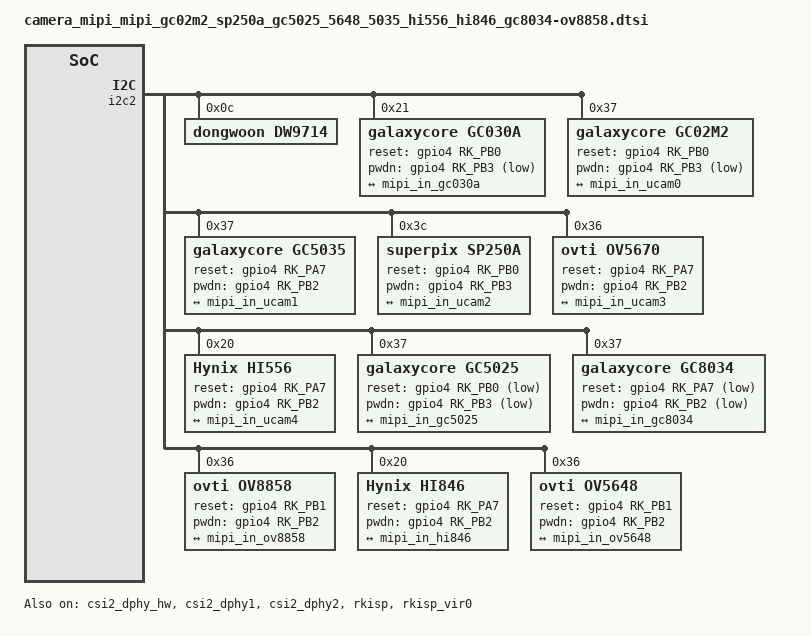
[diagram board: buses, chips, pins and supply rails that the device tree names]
&csi2_dphy_hw {
	status = "okay";
};

/*
 * csi2_dphy1 & csi2_dphy2 used for split mode,
 * csi2_dphy0 used for full mode,
 * full mode and split mode are mutually exclusive
 */

&csi2_dphy0 {
	status = "disabled";

	ports {
		#address-cells = <1>;
		#size-cells = <0>;
		port@0 {
			reg = <0>;
			#address-cells = <1>;
			#size-cells = <0>;

			mipi_in_ucam5: endpoint@2 {
				reg = <2>;
				remote-endpoint = <&ov8858_out>;
				data-lanes = <1 2 3 4>;
			};
		};
		port@1 {
			reg = <1>;
			#address-cells = <1>;
			#size-cells = <0>;

			dphy0_out: endpoint@0 {
				reg = <0>;
				remote-endpoint = <&isp_in0>;
			};
		};
	};
};

&csi2_dphy1 {
	status = "okay";

	/*
	 * dphy1 only used for split mode,
	 * can be used  concurrently  with dphy2
	 * full mode and split mode are mutually exclusive
	 */
	ports {
		#address-cells = <1>;
		#size-cells = <0>;

		port@0 {
			reg = <0>;
			#address-cells = <1>;
			#size-cells = <0>;

			mipi_in_ucam1: endpoint@1 {
				reg = <1>;
				remote-endpoint = <&gc5035_out>;
				data-lanes = <1 2>;
			};
			mipi_in_ucam3: endpoint@2 {
				reg = <2>;
				remote-endpoint = <&ov5670_out>;
				data-lanes = <1 2>;
			};
			mipi_in_ucam4: endpoint@4 {
				reg = <4>;
				remote-endpoint = <&hi556_out>;
				data-lanes = <1 2>;
			};
			mipi_in_gc8034: endpoint@5 {
				reg = <5>;
				remote-endpoint = <&gc8034_out>;
				data-lanes = <1 2>;
			};
			mipi_in_hi846: endpoint@6 {
				reg = <6>;
				remote-endpoint = <&hi846_out>;
				data-lanes = <1 2>;
			};
			mipi_in_ov5648: endpoint@7 {
				reg = <7>;
				remote-endpoint = <&ov5648_out>;
				data-lanes = <1 2>;
			};
			mipi_in_ov8858: endpoint@8 {
				reg = <8>;
				remote-endpoint = <&ov8858_out>;
				data-lanes = <1 2>;
			};						
		};

		port@1 {
			reg = <1>;
			#address-cells = <1>;
			#size-cells = <0>;

			dphy1_out: endpoint@1 {
				reg = <1>;
				remote-endpoint = <&isp_in1>;
			};
		};
	};
};

&csi2_dphy2 {
	status = "okay";

	/*
	 * dphy2 only used for split mode,
	 * can be used  concurrently  with dphy1
	 * full mode and split mode are mutually exclusive
	 */
	ports {
		#address-cells = <1>;
		#size-cells = <0>;

		port@0 {
			reg = <0>;
			#address-cells = <1>;
			#size-cells = <0>;

			mipi_in_ucam0: endpoint@1 {
				reg = <1>;
				remote-endpoint = <&gc02m2_out>;
				data-lanes = <1>;
			};
			mipi_in_ucam2: endpoint@0 {
				reg = <0>;
				remote-endpoint = <&sp250a_out>;
				data-lanes = <1>;
			};
			mipi_in_gc5025: endpoint@2 {
				reg = <2>;
				remote-endpoint = <&gc5025_out>;
				data-lanes = <1 2>;
			};
			mipi_in_gc030a: endpoint@3 {
				reg = <3>;
				remote-endpoint = <&gc030a_out>;
				data-lanes = <1>;
			};			
		};

		port@1 {
			reg = <1>;
			#address-cells = <1>;
			#size-cells = <0>;

			dphy2_out: endpoint@1 {
				reg = <1>;
				remote-endpoint = <&isp_in2>;
			};
		};
	};
};

&i2c2 {
	status = "okay";
	pinctrl-0 = <&i2c2m1_xfer>;

	dw9714: dw9714@c {
		compatible = "dongwoon,dw9714";
		status = "okay";
		reg = <0x0c>;
		rockchip,camera-module-index = <0>;
		rockchip,vcm-start-current = <10>;
		rockchip,vcm-rated-current = <50>;
		rockchip,vcm-step-mode = <5>;
		rockchip,camera-module-facing = "back";
	};
	
	gc030a: gc030a@21 {
		compatible = "galaxycore,gc030a";
		status = "okay";
		reg = <0x21>;
		clocks = <&cru CLK_CIF_OUT>;
		clock-names = "xvclk";
		power-domains = <&power RK3568_PD_VI>;
		//pinctrl-names = "rockchip,camera_default";
		//pinctrl-0 = <&cam_clkout0>;
		//reset pin control by hardware,used this pin switch to mipi input
		//1->2LANE(LANE 0&1) FRONT camera, 0->4LANE REAR camera
		reset-gpios = <&gpio4 RK_PB0 GPIO_ACTIVE_HIGH>;
		pwdn-gpios = <&gpio4 RK_PB3 GPIO_ACTIVE_LOW>;
		//pwdn2-gpios = <&gpio4 11 GPIO_ACTIVE_HIGH>;
		rockchip,camera-module-index = <1>;
		rockchip,camera-module-facing = "front";
		rockchip,camera-module-name = "KYT-4877-V01";
		rockchip,camera-module-lens-name = "default";
		port {
			gc030a_out: endpoint {
				remote-endpoint = <&mipi_in_gc030a>;
				data-lanes = <1>;
			};
		};
	};

	gc02m2: gc02m2@37 {
		compatible = "galaxycore,gc02m2";
		status = "okay";
		reg = <0x37>;
		clocks = <&cru CLK_CIF_OUT>;
		clock-names = "xvclk";
		power-domains = <&power RK3568_PD_VI>;
		//pinctrl-names = "rockchip,camera_default";
		//pinctrl-0 = <&cam_clkout0>;
		//reset pin control by hardware,used this pin switch to mipi input
		//1->2LANE(LANE 0&1) FRONT camera, 0->4LANE REAR camera
		reset-gpios = <&gpio4 RK_PB0 GPIO_ACTIVE_HIGH>;
		pwdn-gpios = <&gpio4 RK_PB3 GPIO_ACTIVE_LOW>;
		//pwdn2-gpios = <&gpio4 11 GPIO_ACTIVE_HIGH>;
		rockchip,camera-module-index = <1>;
		rockchip,camera-module-facing = "front";
		rockchip,camera-module-name = "KYT-4877-V01";
		rockchip,camera-module-lens-name = "default";
		port {
			gc02m2_out: endpoint {
				remote-endpoint = <&mipi_in_ucam0>;
				data-lanes = <1>;
			};
		};
	};

	gc5035: gc5035@37 {
		status = "okay";
		compatible = "galaxycore,gc5035";
		reg = <0x37>;
		clocks = <&cru CLK_CIF_OUT>;
		clock-names = "xvclk";
		power-domains = <&power RK3568_PD_VI>;
		//pinctrl-names = "default";
		//pinctrl-0 = <&cam_clkout0>;
		//reset pin control by hardware,used this pin switch to mipi input
		//1->2LANE(LANE 0&1) FRONT camera, 0->4LANE REAR camera
		reset-gpios = <&gpio4 RK_PA7 GPIO_ACTIVE_HIGH>; //for VCM power used
		pwdn-gpios = <&gpio4 RK_PB2 GPIO_ACTIVE_HIGH>;
		//pwdn2-gpios = <&gpio4 10 GPIO_ACTIVE_HIGH>;
		rockchip,camera-module-index = <0>;
		rockchip,camera-module-facing = "back";
		rockchip,camera-module-name = "KYT-4877-V01";
		rockchip,camera-module-lens-name = "default";
		flash-leds = <&flash_rgb13h>;
		lens-focus = <&dw9714>;
		port {
			gc5035_out: endpoint {
				remote-endpoint = <&mipi_in_ucam1>;
				data-lanes = <1 2>;
			};
		};
	};

	sp250a: sp250a@3c {
		compatible = "superpix,sp250a";
		status = "okay";
		reg = <0x3c>;
		clocks = <&cru CLK_CIF_OUT>;
		clock-names = "xvclk";
		power-domains = <&power RK3568_PD_VI>;
		//pinctrl-names = "rockchip,camera_default";
		//pinctrl-0 = <&cam_clkout0>;
		//reset pin control by hardware,used this pin switch to mipi input
		//1->2LANE(LANE 0&1) FRONT camera, 0->4LANE REAR camera
		reset-gpios = <&gpio4 RK_PB0 GPIO_ACTIVE_HIGH>;
		pwdn-gpios = <&gpio4 RK_PB3 GPIO_ACTIVE_HIGH>;
		//pwdn2-gpios = <&gpio4 11 GPIO_ACTIVE_HIGH>;
		rockchip,camera-module-index = <1>;
		rockchip,camera-module-facing = "front";
		rockchip,camera-module-name = "LM50A60-S107-YK-XJL-V2";
		rockchip,camera-module-lens-name = "default";
		port {
			sp250a_out: endpoint {
				remote-endpoint = <&mipi_in_ucam2>;
				data-lanes = <1>;
			};
		};
	};

	ov5670: ov5670@36 {
		status = "okay";
		compatible = "ovti,ov5670";
		reg = <0x36>;
		clocks = <&cru CLK_CIF_OUT>;
		clock-names = "xvclk";
		power-domains = <&power RK3568_PD_VI>;
		//pinctrl-names = "default";
		//pinctrl-0 = <&cam_clkout0>;
		//reset pin control by hardware,used this pin switch to mipi input
		//1->2LANE(LANE 0&1) FRONT camera, 0->4LANE REAR camera
		reset-gpios = <&gpio4 RK_PA7 GPIO_ACTIVE_HIGH>; //for VCM power used
		pwdn-gpios = <&gpio4 RK_PB2 GPIO_ACTIVE_HIGH>;
		//pwdn2-gpios = <&gpio4 10 GPIO_ACTIVE_HIGH>;
		rockchip,camera-module-index = <0>;
		rockchip,camera-module-facing = "back";
		rockchip,camera-module-name = "LM50A60-S107-YK-XJL-V2";
		rockchip,camera-module-lens-name = "default";
		flash-leds = <&flash_rgb13h>;
		lens-focus = <&dw9714>;
		port {
			ov5670_out: endpoint {
				remote-endpoint = <&mipi_in_ucam3>;
				data-lanes = <1 2>;
			};
		};
	};

	hi556: hi556@20 {
		status = "okay";
		compatible = "Hynix,hi556";
		reg = <0x20>;
		clocks = <&cru CLK_CIF_OUT>;
		clock-names = "xvclk";
		power-domains = <&power RK3568_PD_VI>;
		//pinctrl-names = "default";
		//pinctrl-0 = <&cam_clkout0>;
		//reset pin control by hardware,used this pin switch to mipi input
		//1->2LANE(LANE 0&1) FRONT camera, 0->4LANE REAR camera
		reset-gpios = <&gpio4 RK_PA7 GPIO_ACTIVE_HIGH>;	//for VCM power used
		pwdn-gpios = <&gpio4 RK_PB2 GPIO_ACTIVE_HIGH>;
		//pwdn2-gpios = <&gpio4 10 GPIO_ACTIVE_HIGH>;
		rockchip,camera-module-index = <0>;
		rockchip,camera-module-facing = "back";
		rockchip,camera-module-name = "KYT-8607-V1.0";
		rockchip,camera-module-lens-name = "default";
		flash-leds = <&flash_rgb13h>;
		lens-focus = <&dw9714>;
		port {
			hi556_out: endpoint {
				remote-endpoint = <&mipi_in_ucam4>;
				data-lanes = <1 2>;
			};
		};
	};

	gc5025: gc5025@37 {
		compatible = "galaxycore,gc5025";
		status = "okay";
		reg = <0x37>;
		clocks = <&cru CLK_CIF_OUT>;
		clock-names = "xvclk";
		power-domains = <&power RK3568_PD_VI>;
		//pinctrl-names = "rockchip,camera_default";
		//pinctrl-0 = <&cam_clkout0>;
		reset-gpios = <&gpio4 RK_PB0 GPIO_ACTIVE_LOW>;
		pwdn-gpios = <&gpio4 RK_PB3 GPIO_ACTIVE_LOW>;
		//pwdn2-gpios = <&gpio4 11 GPIO_ACTIVE_HIGH>;
		rockchip,camera-module-index = <1>;
		rockchip,camera-module-facing = "front";
		rockchip,camera-module-name = "KYT-8647-V1.0";
		rockchip,camera-module-lens-name = "default";
		port {
			gc5025_out: endpoint {
				remote-endpoint = <&mipi_in_gc5025>;
				data-lanes = <1 2>;
			};
		};
	};

	gc8034: gc8034@37 {
		status = "okay";
		compatible = "galaxycore,gc8034";
		reg = <0x37>;
		clocks = <&cru CLK_CIF_OUT>;
		clock-names = "xvclk";
		power-domains = <&power RK3568_PD_VI>;
		//pinctrl-names = "default";
		//pinctrl-0 = <&cam_clkout0>;
		reset-gpios = <&gpio4 RK_PA7 GPIO_ACTIVE_LOW>; //for VCM power used
		pwdn-gpios = <&gpio4 RK_PB2 GPIO_ACTIVE_LOW>;
		//pwdn2-gpios = <&gpio4 10 GPIO_ACTIVE_LOW>;
		rockchip,camera-module-index = <0>;
		rockchip,camera-module-facing = "back";
		rockchip,camera-module-name = "KYT-8647-V1.0";
		rockchip,camera-module-lens-name = "default";
		flash-leds = <&flash_rgb13h>;
		lens-focus = <&dw9714>;
		port {
			gc8034_out: endpoint {
				remote-endpoint = <&mipi_in_gc8034>;
				data-lanes = <1 2>;
			};
		};
	};


	ov8858: ov8858@36 {
		status = "okay";
		compatible = "ovti,ov8858";
		reg = <0x36>;
		clocks = <&cru CLK_CIF_OUT>;
		clock-names = "xvclk";
		power-domains = <&power RK3568_PD_VI>;
		//pinctrl-names = "rockchip,camera_default", "rockchip,camera_sleep";
		//pinctrl-0 = <&cam_clkout0>;
		//pinctrl-1 = <&cam_sleep>;
		//reset pin control by hardware,used this pin switch to mipi input
		//1->2LANE(LANE 0&1) FRONT camera, 0->4LANE REAR camera
		reset-gpios = <&gpio4 RK_PB1 GPIO_ACTIVE_HIGH>;
		pwdn-gpios = <&gpio4 RK_PB2 GPIO_ACTIVE_HIGH>;
		rockchip,camera-module-index = <0>;
		rockchip,camera-module-facing = "back";
		rockchip,camera-module-name = "HS5885-BNSM1018-V01";
		rockchip,camera-module-lens-name = "default";
		flash-leds = <&flash_rgb13h>;
		lens-focus = <&dw9714>;
		port {
			ov8858_out: endpoint {
				remote-endpoint = <&mipi_in_ov8858>;
				data-lanes = <1 2>;
			};
		};
	};
	
#if 0
	gc5025: gc5025@37 {
		compatible = "galaxycore,gc5025";
		status = "okay";
		reg = <0x37>;
		clocks = <&cru CLK_CIF_OUT>;
		clock-names = "xvclk";
		power-domains = <&power RK3568_PD_VI>;
		//pinctrl-names = "rockchip,camera_default";
		//pinctrl-0 = <&cam_clkout0>;
		reset-gpios = <&gpio4 RK_PB0 GPIO_ACTIVE_LOW>;
		pwdn-gpios = <&gpio4 RK_PB3 GPIO_ACTIVE_LOW>;
		//pwdn2-gpios = <&gpio4 11 GPIO_ACTIVE_HIGH>;
		rockchip,camera-module-index = <1>;
		rockchip,camera-module-facing = "front";
		rockchip,camera-module-name = "KYT-8648-V1.0";
		rockchip,camera-module-lens-name = "default";
		port {
			gc5025_out: endpoint {
				remote-endpoint = <&mipi_in_gc5025>;
				data-lanes = <1 2>;
			};
		};
	};
#endif
	hi846: hi846@20 {
		status = "okay";
		compatible = "Hynix,hi846";
		reg = <0x20>;
		clocks = <&cru CLK_CIF_OUT>;
		clock-names = "xvclk";
		power-domains = <&power RK3568_PD_VI>;
		//pinctrl-names = "default";
		//pinctrl-0 = <&cam_clkout0>;
		//reset pin control by hardware,used this pin switch to mipi input
		//1->2LANE(LANE 0&1) FRONT camera, 0->4LANE REAR camera
		reset-gpios = <&gpio4 RK_PA7 GPIO_ACTIVE_HIGH>;	//for VCM power used
		pwdn-gpios = <&gpio4 RK_PB2 GPIO_ACTIVE_HIGH>;
		//pwdn2-gpios = <&gpio4 10 GPIO_ACTIVE_HIGH>;
		rockchip,camera-module-index = <0>;
		rockchip,camera-module-facing = "back";
		rockchip,camera-module-name = "KYT-8648-V1.0";
		rockchip,camera-module-lens-name = "default";
		flash-leds = <&flash_rgb13h>;
		lens-focus = <&dw9714>;
		port {
			hi846_out: endpoint {
				remote-endpoint = <&mipi_in_hi846>;
				data-lanes = <1 2>;
			};
		};
	};

	ov5648: ov5648@36 {
		status = "okay";
		compatible = "ovti,ov5648";
		reg = <0x36>;
		clocks = <&cru CLK_CIF_OUT>;
		clock-names = "xvclk";
		power-domains = <&power RK3568_PD_VI>;
		//pinctrl-names = "default";
		//pinctrl-0 = <&cam_clkout0>;
		//reset pin control by hardware,used this pin switch to mipi input
		//1->2LANE(LANE 0&1) FRONT camera, 0->4LANE REAR camera
		reset-gpios = <&gpio4 RK_PB1 GPIO_ACTIVE_HIGH>;
		pwdn-gpios = <&gpio4 RK_PB2 GPIO_ACTIVE_HIGH>;
		//pwdn2-gpios = <&gpio4 10 GPIO_ACTIVE_HIGH>;
		rockchip,camera-module-index = <0>;
		rockchip,camera-module-facing = "back";
		rockchip,camera-module-name = "HS5885-BNSM1018-V01";
		rockchip,camera-module-lens-name = "default";
		flash-leds = <&flash_rgb13h>;
		lens-focus = <&dw9714>;
		port {
			ov5648_out: endpoint {
				remote-endpoint = <&mipi_in_ov5648>;
				data-lanes = <1 2>;
			};
		};
	};

};

&rkisp {
	status = "okay";
};

&rkisp_mmu {
	status = "okay";
};

&rkisp_vir0 {
	status = "okay";
	pinctrl-names = "default";
	pinctrl-0 = <&cif_clk>;
	port {
		#address-cells = <1>;
		#size-cells = <0>;

		isp_in0: endpoint@0 {
			reg = <0>;
			remote-endpoint = <&dphy0_out>;
		};
		isp_in1: endpoint@1 {
			reg = <1>;
			remote-endpoint = <&dphy1_out>;
		};		
		isp_in2: endpoint@2 {
			reg = <1>;
			remote-endpoint = <&dphy2_out>;
		};
	};
};

